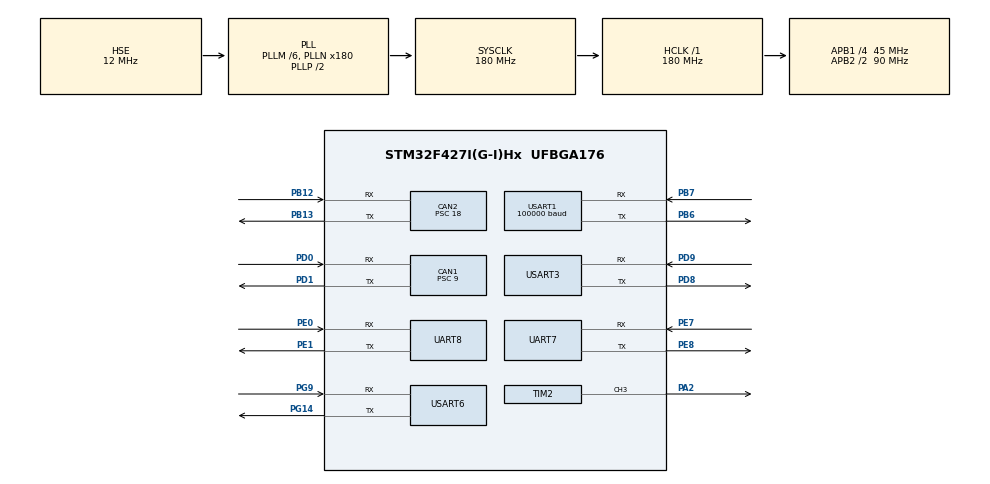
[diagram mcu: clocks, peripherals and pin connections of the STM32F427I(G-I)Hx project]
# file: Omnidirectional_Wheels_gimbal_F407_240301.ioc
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CAN1.BS1=CAN_BS1_2TQ
CAN1.BS2=CAN_BS2_2TQ
CAN1.CalculateBaudRate=1000000
CAN1.CalculateTimeBit=1000
CAN1.CalculateTimeQuantum=200.0
CAN1.Prescaler=9
CAN2.BS1=CAN_BS1_2TQ
CAN2.BS2=CAN_BS2_2TQ
CAN2.CalculateBaudRate=500000
CAN2.CalculateTimeBit=2000
CAN2.CalculateTimeQuantum=400.0
CAN2.Prescaler=18
Dma.Request0=UART8_RX
Dma.Request1=UART8_TX
Dma.Request2=USART6_RX
Dma.Request3=USART6_TX
Dma.Request4=USART3_RX
Dma.Request5=USART3_TX
Dma.UART8_RX.0.Direction=DMA_PERIPH_TO_MEMORY
Dma.UART8_RX.0.FIFOMode=DMA_FIFOMODE_DISABLE
Dma.UART8_RX.0.Instance=DMA1_Stream6
Dma.UART8_RX.0.MemDataAlignment=DMA_MDATAALIGN_BYTE
Dma.UART8_RX.0.MemInc=DMA_MINC_ENABLE
Dma.UART8_RX.0.Mode=DMA_NORMAL
Dma.UART8_RX.0.PeriphDataAlignment=DMA_PDATAALIGN_BYTE
Dma.UART8_RX.0.PeriphInc=DMA_PINC_DISABLE
Dma.UART8_RX.0.Priority=DMA_PRIORITY_LOW
Dma.UART8_TX.1.Direction=DMA_MEMORY_TO_PERIPH
Dma.UART8_TX.1.FIFOMode=DMA_FIFOMODE_DISABLE
Dma.UART8_TX.1.Instance=DMA1_Stream0
Dma.UART8_TX.1.MemDataAlignment=DMA_MDATAALIGN_BYTE
Dma.UART8_TX.1.MemInc=DMA_MINC_ENABLE
Dma.UART8_TX.1.Mode=DMA_NORMAL
Dma.UART8_TX.1.PeriphDataAlignment=DMA_PDATAALIGN_BYTE
Dma.UART8_TX.1.PeriphInc=DMA_PINC_DISABLE
Dma.UART8_TX.1.Priority=DMA_PRIORITY_LOW
Dma.USART3_RX.4.Direction=DMA_PERIPH_TO_MEMORY
Dma.USART3_RX.4.FIFOMode=DMA_FIFOMODE_DISABLE
Dma.USART3_RX.4.Instance=DMA1_Stream1
Dma.USART3_RX.4.MemDataAlignment=DMA_MDATAALIGN_BYTE
Dma.USART3_RX.4.MemInc=DMA_MINC_ENABLE
Dma.USART3_RX.4.Mode=DMA_NORMAL
Dma.USART3_RX.4.PeriphDataAlignment=DMA_PDATAALIGN_BYTE
Dma.USART3_RX.4.PeriphInc=DMA_PINC_DISABLE
Dma.USART3_RX.4.Priority=DMA_PRIORITY_LOW
Dma.USART3_TX.5.Direction=DMA_MEMORY_TO_PERIPH
Dma.USART3_TX.5.FIFOMode=DMA_FIFOMODE_DISABLE
Dma.USART3_TX.5.Instance=DMA1_Stream3
Dma.USART3_TX.5.MemDataAlignment=DMA_MDATAALIGN_BYTE
Dma.USART3_TX.5.MemInc=DMA_MINC_ENABLE
Dma.USART3_TX.5.Mode=DMA_NORMAL
Dma.USART3_TX.5.PeriphDataAlignment=DMA_PDATAALIGN_BYTE
Dma.USART3_TX.5.PeriphInc=DMA_PINC_DISABLE
Dma.USART3_TX.5.Priority=DMA_PRIORITY_LOW
Dma.USART6_RX.2.Direction=DMA_PERIPH_TO_MEMORY
Dma.USART6_RX.2.FIFOMode=DMA_FIFOMODE_DISABLE
Dma.USART6_RX.2.Instance=DMA2_Stream1
Dma.USART6_RX.2.MemDataAlignment=DMA_MDATAALIGN_BYTE
Dma.USART6_RX.2.MemInc=DMA_MINC_ENABLE
Dma.USART6_RX.2.Mode=DMA_NORMAL
Dma.USART6_RX.2.PeriphDataAlignment=DMA_PDATAALIGN_BYTE
Dma.USART6_RX.2.PeriphInc=DMA_PINC_DISABLE
Dma.USART6_RX.2.Priority=DMA_PRIORITY_LOW
Dma.USART6_TX.3.Direction=DMA_MEMORY_TO_PERIPH
Dma.USART6_TX.3.FIFOMode=DMA_FIFOMODE_DISABLE
Dma.USART6_TX.3.Instance=DMA2_Stream6
Dma.USART6_TX.3.MemDataAlignment=DMA_MDATAALIGN_BYTE
Dma.USART6_TX.3.MemInc=DMA_MINC_ENABLE
Dma.USART6_TX.3.Mode=DMA_NORMAL
Dma.USART6_TX.3.PeriphDataAlignment=DMA_PDATAALIGN_BYTE
Dma.USART6_TX.3.PeriphInc=DMA_PINC_DISABLE
Dma.USART6_TX.3.Priority=DMA_PRIORITY_LOW
Mcu.Family=STM32F4
Mcu.Name=STM32F427I(G-I)Hx
Mcu.Package=UFBGA176
NVIC.CAN1_RX0_IRQn=true\:0\:0\:false\:false\:true\:true\:true\:true
NVIC.CAN1_RX1_IRQn=true\:0\:0\:false\:false\:true\:true\:true\:true
NVIC.CAN2_RX0_IRQn=true\:0\:0\:false\:false\:true\:true\:true\:true
NVIC.CAN2_RX1_IRQn=true\:0\:0\:false\:false\:true\:true\:true\:true
NVIC.DMA1_Stream0_IRQn=true\:0\:0\:false\:false\:true\:false\:true\:true
NVIC.DMA1_Stream1_IRQn=true\:0\:0\:false\:false\:true\:false\:true\:true
NVIC.DMA1_Stream3_IRQn=true\:0\:0\:false\:false\:true\:false\:true\:true
NVIC.DMA1_Stream6_IRQn=true\:0\:0\:false\:false\:true\:false\:true\:true
NVIC.DMA2_Stream1_IRQn=true\:0\:0\:false\:false\:true\:false\:true\:true
NVIC.DMA2_Stream6_IRQn=true\:0\:0\:false\:false\:true\:false\:true\:true
NVIC.PriorityGroup=NVIC_PRIORITYGROUP_4
NVIC.TIM2_IRQn=true\:0\:0\:false\:false\:true\:true\:true\:true
NVIC.TIM5_IRQn=true\:0\:0\:true\:false\:true\:true\:true\:true
NVIC.TIM6_DAC_IRQn=true\:0\:0\:true\:false\:true\:true\:true\:true
NVIC.TIM7_IRQn=true\:0\:0\:true\:false\:true\:true\:true\:true
NVIC.UART7_IRQn=true\:0\:0\:false\:false\:true\:true\:true\:true
NVIC.UART8_IRQn=true\:0\:0\:false\:false\:true\:true\:true\:true
NVIC.USART1_IRQn=true\:0\:0\:true\:false\:true\:true\:true\:true
NVIC.USART3_IRQn=true\:0\:0\:true\:false\:true\:true\:true\:true
NVIC.USART6_IRQn=true\:0\:0\:false\:false\:true\:true\:true\:true
PA0/WKUP.Signal=S_TIM2_CH1_ETR
PA1.Signal=S_TIM2_CH2
PA13.Mode=Serial_Wire
PA13.Signal=SYS_JTMS-SWDIO
PA14.Mode=Serial_Wire
PA14.Signal=SYS_JTCK-SWCLK
PA2.Signal=S_TIM2_CH3
PB12.Mode=CAN_Activate
PB12.Signal=CAN2_RX
PB13.Mode=CAN_Activate
PB13.Signal=CAN2_TX
PB6.Mode=Asynchronous
PB6.Signal=USART1_TX
PB7.Mode=Asynchronous
PB7.Signal=USART1_RX
PD0.Mode=CAN_Activate
PD0.Signal=CAN1_RX
PD1.Mode=CAN_Activate
PD1.Signal=CAN1_TX
PD8.Mode=Asynchronous
PD8.Signal=USART3_TX
PD9.Mode=Asynchronous
PD9.Signal=USART3_RX
PE0.Mode=Asynchronous
PE0.Signal=UART8_RX
PE1.Mode=Asynchronous
PE1.Signal=UART8_TX
PE7.Mode=Asynchronous
PE7.Signal=UART7_RX
PE8.Mode=Asynchronous
PE8.Signal=UART7_TX
PG14.Mode=Asynchronous
PG14.Signal=USART6_TX
PG9.Mode=Asynchronous
PG9.Signal=USART6_RX
PH0/OSC_IN.Mode=HSE-External-Oscillator
PH0/OSC_IN.Signal=RCC_OSC_IN
PH1/OSC_OUT.Mode=HSE-External-Oscillator
PH1/OSC_OUT.Signal=RCC_OSC_OUT
ProjectManager.HeapSize=0x200
ProjectManager.StackSize=0x400
ProjectManager.TargetToolchain=MDK-ARM V5.32
RCC.48MHZClocksFreq_Value=90000000
RCC.AHBFreq_Value=180000000
RCC.APB1CLKDivider=RCC_HCLK_DIV4
RCC.APB1Freq_Value=45000000
RCC.APB1TimFreq_Value=90000000
RCC.APB2CLKDivider=RCC_HCLK_DIV2
RCC.APB2Freq_Value=90000000
RCC.APB2TimFreq_Value=180000000
RCC.CortexFreq_Value=180000000
RCC.HCLKFreq_Value=180000000
RCC.HSE_VALUE=12000000
RCC.HSI_VALUE=16000000
RCC.LSE_VALUE=32768
RCC.PLLM=6
RCC.PLLN=180
RCC.PLLSourceVirtual=RCC_PLLSOURCE_HSE
RCC.SYSCLKFreq_VALUE=180000000
RCC.SYSCLKSource=RCC_SYSCLKSOURCE_PLLCLK
RCC.VCOOutputFreq_Value=360000000
SH.S_TIM2_CH1_ETR.0=TIM2_CH1
SH.S_TIM2_CH2.0=TIM2_CH2
SH.S_TIM2_CH3.0=TIM2_CH3,PWM Generation3 CH3
TIM2.AutoReloadPreload=TIM_AUTORELOAD_PRELOAD_ENABLE
TIM2.Channel-PWM\ Generation3\ CH3=TIM_CHANNEL_3
TIM2.Period=20000-1
TIM2.Prescaler=45-1
TIM2.Pulse-PWM\ Generation3\ CH3=500
TIM5.AutoReloadPreload=TIM_AUTORELOAD_PRELOAD_ENABLE
TIM5.Period=1000-1
TIM5.Prescaler=90-1
TIM6.AutoReloadPreload=TIM_AUTORELOAD_PRELOAD_ENABLE
TIM6.Period=1000-1
TIM6.Prescaler=90-1
TIM7.AutoReloadPreload=TIM_AUTORELOAD_PRELOAD_ENABLE
TIM7.Period=20000-1
TIM7.Prescaler=90-1
UART7.VirtualMode=Asynchronous
UART8.VirtualMode=Asynchronous
USART1.BaudRate=100000
USART1.Parity=PARITY_EVEN
USART1.VirtualMode=VM_ASYNC
USART1.WordLength=WORDLENGTH_9B
USART3.VirtualMode=VM_ASYNC
USART6.VirtualMode=VM_ASYNC
VP_TIM2_VS_ClockSourceINT.Mode=Internal
VP_TIM5_VS_ClockSourceINT.Mode=Internal
VP_TIM6_VS_ClockSourceINT.Mode=Enable_Timer
VP_TIM7_VS_ClockSourceINT.Mode=Enable_Timer
board=custom

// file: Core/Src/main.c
/* USER CODE BEGIN Header */
/**
  ******************************************************************************
  * @file           : main.c
  * @brief          : Main program body
  ******************************************************************************
  * @attention
  *
  * Copyright (c) 2024 STMicroelectronics.
  * All rights reserved.
  *
  * This software is licensed under terms that can be found in the LICENSE file
  * in the root directory of this software component.
  * If no LICENSE file comes with this software, it is provided AS-IS.
  *
  ******************************************************************************
  */
/* USER CODE END Header */
#include "main.h"
#include "can.h"
#include "dma.h"
#include "tim.h"
#include "usart.h"
#include "gpio.h"

/* USER CODE BEGIN Includes */
#include "def_variable.h"
#include "RM_stdxxx.h"
#include "total_stack.h"
//combines_x_x_t xsd;float sdfx = 0.2;
/* USER CODE END Includes */

void SystemClock_Config(void);

/* USER CODE BEGIN 0 */
void HAL_TIM_PeriodElapsedCallback (TIM_HandleTypeDef *htim)//回调函数
{
	if(htim == &htim6)
	{
		logic_task();
	}
	if(htim == &htim5)
	{
		Send_Gimbal_to_Chassis_task();
	}
	if(htim == &htim7)
	{
		vision_task();
	}
}
/* USER CODE END 0 */

int main(void)
{

  /* MCU Configuration--------------------------------------------------------*/

  /* Reset of all peripherals, Initializes the Flash interface and the Systick. */
  HAL_Init();

  /* Configure the system clock */
  SystemClock_Config();

  /* Initialize all configured peripherals */
  MX_GPIO_Init();
  MX_DMA_Init();
  MX_CAN1_Init();
  MX_CAN2_Init();
  MX_UART7_Init();
  MX_UART8_Init();
  MX_USART6_UART_Init();
  MX_TIM5_Init();
  MX_TIM6_Init();
  MX_USART1_UART_Init();
  MX_TIM2_Init();
  MX_USART3_UART_Init();
  MX_TIM7_Init();
  /* USER CODE BEGIN 2 */
	HAL_UARTEx_ReceiveToIdle_DMA(&vision_Huart,vision_data.vision_RX_data,13);//视觉接收
	Total_tasks_Init();//基本参数初始化
	HAL_TIM_Base_Start_IT(&htim6);//控制器定时
	HAL_TIM_Base_Start_IT(&htim5);//发送
	HAL_TIM_Base_Start_IT(&htim7);
//	HAL_UART_Receive_IT(&vision_Huart,vision_data.vision_RX_data,9);

  /* USER CODE END 2 */

  /* Infinite loop */
  while (1)
  {

    /* USER CODE BEGIN 3 */
		dir = rmClicker.ISDir();
		Motor2006.ISDir();
		Motor3508.ISDir();
		Motor6020.ISDir();

		//陀螺仪获取端
		#if GY_GET_SIG == GY_CAN
			GY_dir |= chGy_chassis.GetDir();
		#elif GY_GET_SIG == GY_232
			GY_dir |= ch_gyro_232_is_dir(&ch_gyro_232_uart_chassis,&chGy_chassis);
		#endif

		Total_tasks_Run();

//		td1.td_quadratic(chGy_chassis.data.ASz);
//		td2.td_quadratic(chGy_chassis.data.ASz);
//		td3.td_quadratic(chGy_chassis.data.ASz);
//	xsd.combines_x_x(td_pitch_encoder_angle.u + 232.2,td_pitch_gy_angle.u,sdfx,0.001);
//	*((float*)&send_str2[0]) = (td_pitch_encoder_angle.u + 232.2);
//	*((float*)&send_str2[4]) = (td_pitch_encoder_angle.x1 + 232.2);
//	*((float*)&send_str2[8]) =  td_pitch_gy_angle.u;
//	*((float*)&send_str2[12]) = xsd.y2;
//	*((float*)&send_str2[16]) =  0;
//	*((float*)&send_str2[16]) =  0;
  #if Debug_UART_SW == Debug_ON
	  *((float*)&send_str2[0]) = yaw_target_add_angle;
  	*((float*)&send_str2[4]) = yaw_zz_pid_s.feedback;
	  *((float*)&send_str2[8]) =  _Motor6020_[1].Data[0];
	  *((float*)&send_str2[12]) = RM_yaw_UDE.out_torque;
	  *((float*)&send_str2[16]) = RM_yaw_UDE.feedback_torque;
	  *((float*)&send_str2[20]) = RM_yaw_UDE.out;
	  *((float*)&send_str2[24]) =  (yaw_zz_pid_v.out-RM_yaw_UDE.out);
	  *((uint32_t*)&send_str2[sizeof(float) * (7)]) = 0x7f800000;
	  //开始发送数据
   HAL_UART_Transmit_DMA(&Send_Usart_Data_Huart, send_str2, sizeof(float) * (7 + 1));

  #elif Debug_UART_SW == Debug_OFF

  #endif
  }
  /* USER CODE END 3 */
}

void SystemClock_Config(void)
{
  RCC_OscInitTypeDef RCC_OscInitStruct = {0};
  RCC_ClkInitTypeDef RCC_ClkInitStruct = {0};

  /** Configure the main internal regulator output voltage
  */
  __HAL_RCC_PWR_CLK_ENABLE();
  __HAL_PWR_VOLTAGESCALING_CONFIG(PWR_REGULATOR_VOLTAGE_SCALE1);

  /** Initializes the RCC Oscillators according to the specified parameters
  * in the RCC_OscInitTypeDef structure.
  */
  RCC_OscInitStruct.OscillatorType = RCC_OSCILLATORTYPE_HSE;
  RCC_OscInitStruct.HSEState = RCC_HSE_ON;
  RCC_OscInitStruct.PLL.PLLState = RCC_PLL_ON;
  RCC_OscInitStruct.PLL.PLLSource = RCC_PLLSOURCE_HSE;
  RCC_OscInitStruct.PLL.PLLM = 6;
  RCC_OscInitStruct.PLL.PLLN = 180;
  RCC_OscInitStruct.PLL.PLLP = RCC_PLLP_DIV2;
  RCC_OscInitStruct.PLL.PLLQ = 4;
  if (HAL_RCC_OscConfig(&RCC_OscInitStruct) != HAL_OK)
  {
    Error_Handler();
  }

  /** Activate the Over-Drive mode
  */
  if (HAL_PWREx_EnableOverDrive() != HAL_OK)
  {
    Error_Handler();
  }

  /** Initializes the CPU, AHB and APB buses clocks
  */
  RCC_ClkInitStruct.ClockType = RCC_CLOCKTYPE_HCLK|RCC_CLOCKTYPE_SYSCLK
                              |RCC_CLOCKTYPE_PCLK1|RCC_CLOCKTYPE_PCLK2;
  RCC_ClkInitStruct.SYSCLKSource = RCC_SYSCLKSOURCE_PLLCLK;
  RCC_ClkInitStruct.AHBCLKDivider = RCC_SYSCLK_DIV1;
  RCC_ClkInitStruct.APB1CLKDivider = RCC_HCLK_DIV4;
  RCC_ClkInitStruct.APB2CLKDivider = RCC_HCLK_DIV2;

  if (HAL_RCC_ClockConfig(&RCC_ClkInitStruct, FLASH_LATENCY_5) != HAL_OK)
  {
    Error_Handler();
  }
}

void Error_Handler(void)
{
  __disable_irq();
  while (1)
  {
  }
}
